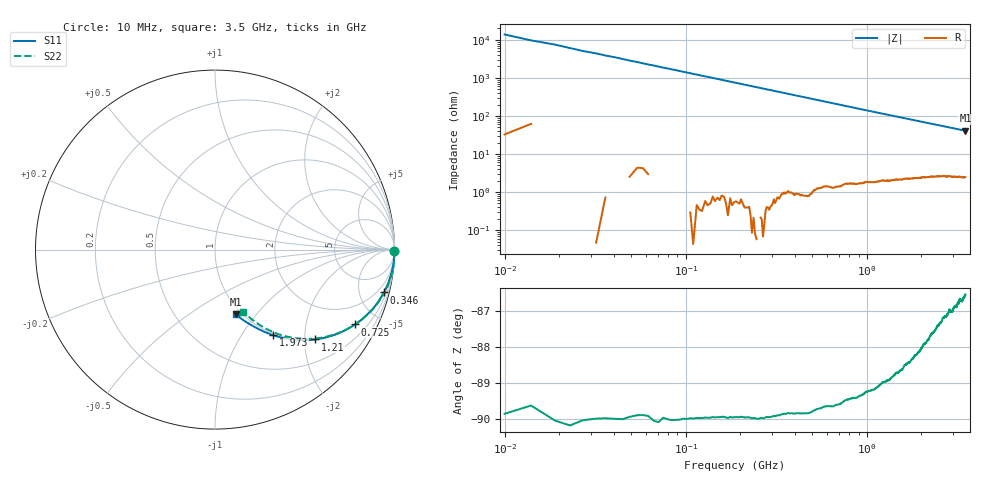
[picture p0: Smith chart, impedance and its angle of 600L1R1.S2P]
!  American Technical Ceramics  Date:  4/27/2005
!  One Norden Lane
!  Huntington Station,  NY.  11746-2102
!  Tel:  (631) 622-4700  Fax:  (631) 622-4748
!  Part Number  600L1R1BT  Mounting Orientation:  Horizontal
!  Description: Ultra Low ESR Microwave capacitors
!  Application: Coupling, Bypass, Tuning, DC Block
!  Filters, Matching
# GHZ S DB R 50
! Freq  |S11|  S11 Ph  |S21|  S21 Ph  |S12|  S12 Ph  |S22|  S22 Ph
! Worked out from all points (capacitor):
!   801 points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, 10 MHz to 3.5 GHz, reference 50 ohm
!   read as one part in series: C = 1.13 pF near 27 MHz
!   lowest |Z| = 40.9 ohm at 3.5 GHz (marker M1)
!   S11 on the Smith chart (normalised r, x): 10 MHz: open; 346 MHz: 0.96, -7.89; 725 MHz: 0.98, -3.76; 1.21 GHz: 0.98, -2.25; 1.973 GHz: 0.98, -1.39; 3.5 GHz: 0.94, -0.79
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0.01  -0.01 -0.3  -42.87 89.5  -42.77 89.8  -0.01 -0.5
0.019  -0.01 -0.8  -37.53 89.3  -37.50 89.0  -0.01 -0.8
0.036  -0.01 -1.6  -31.81 88.4  -31.79 88.5  -0.01 -1.5
0.049  -0.01 -2.1  -29.15 87.9  -29.10 88.0  -0.01 -2.0
0.062  -0.01 -2.6  -27.09 87.3  -27.06 87.4  -0.01 -2.6
0.075  -0.01 -3.2  -25.44 86.8  -25.40 86.9  -0.01 -3.1
0.11  -0.02 -4.6  -22.13 85.4  -22.11 85.4  -0.01 -4.5
0.158  -0.05 -6.6  -19.03 83.4  -19.00 83.4  -0.02 -6.5
0.206  -0.10 -8.6  -16.77 81.4  -16.74 81.4  -0.06 -8.5
0.267  -0.15 -11.1  -14.57 79.0  -14.55 78.9  -0.12 -10.9
0.346  -0.26 -14.2  -12.43 75.7  -12.41 75.7  -0.22 -14.0
0.459  -0.45 -18.7  -10.16 71.3  -10.13 71.3  -0.41 -18.4
0.595  -0.74 -23.6  -8.20 66.2  -8.17 66.1  -0.70 -23.3
0.725  -1.06 -28.1  -6.79 61.6  -6.77 61.6  -1.03 -27.7
0.93  -1.64 -34.5  -5.22 55.1  -5.20 55.1  -1.61 -34.0
1.175  -2.38 -41.0  -3.97 48.5  -3.95 48.5  -2.36 -40.3
1.21  -2.49 -41.8  -3.83 47.6  -3.81 47.6  -2.47 -41.0
1.755  -4.16 -52.6  -2.38 36.9  -2.36 36.8  -4.16 -51.1
1.973  -4.80 -55.9  -2.06 33.6  -2.04 33.6  -4.80 -54.0
2.34  -5.78 -60.6  -1.68 29.2  -1.66 29.2  -5.79 -57.8
2.92  -7.16 -66.8  -1.33 24.2  -1.31 24.2  -7.18 -62.3
3.5  -8.44 -72.4  -1.14 20.6  -1.11 20.5  -8.38 -65.4
